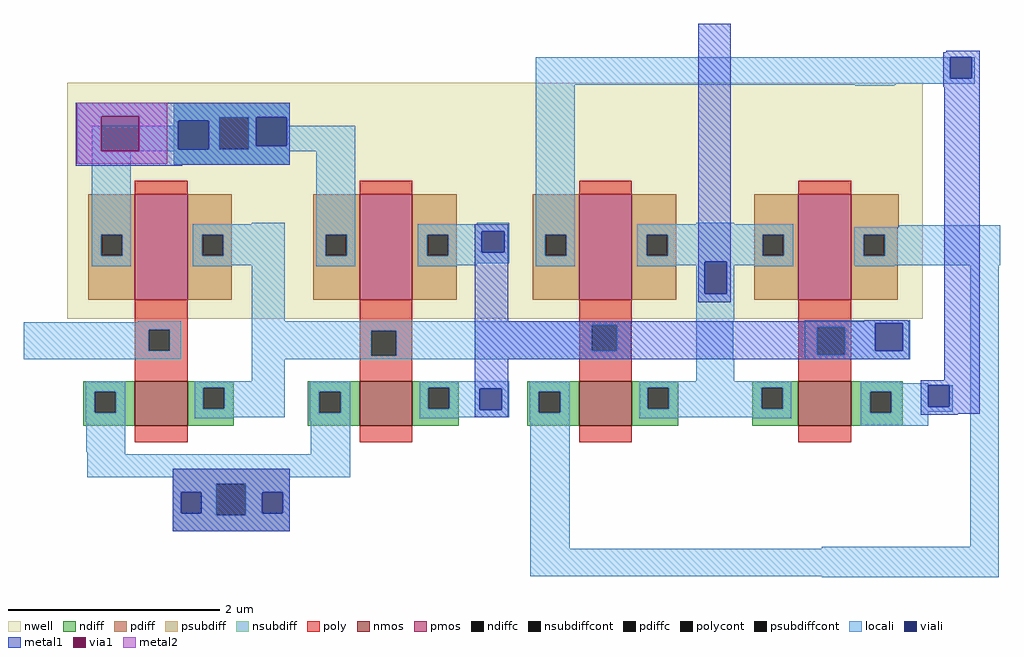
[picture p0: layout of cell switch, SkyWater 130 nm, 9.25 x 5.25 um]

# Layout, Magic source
magic
tech sky130A
<< nwell >>
rect 41 201 852 425
<< nmos >>
rect 105 100 155 142
rect 318 100 368 142
rect 526 100 576 142
rect 734 100 784 142
<< pmos >>
rect 105 219 155 319
rect 318 219 368 319
rect 526 219 576 319
rect 734 219 784 319
<< ndiff >>
rect 56 132 105 142
rect 56 112 67 132
rect 87 112 105 132
rect 56 100 105 112
rect 155 136 199 142
rect 155 116 170 136
rect 190 116 199 136
rect 155 100 199 116
rect 269 132 318 142
rect 269 112 280 132
rect 300 112 318 132
rect 269 100 318 112
rect 368 136 412 142
rect 368 116 383 136
rect 403 116 412 136
rect 368 100 412 116
rect 477 132 526 142
rect 477 112 488 132
rect 508 112 526 132
rect 477 100 526 112
rect 576 136 620 142
rect 576 116 591 136
rect 611 116 620 136
rect 576 100 620 116
rect 690 136 734 142
rect 690 116 699 136
rect 719 116 734 136
rect 690 100 734 116
rect 784 132 833 142
rect 784 112 802 132
rect 822 112 833 132
rect 784 100 833 112
<< pdiff >>
rect 61 281 105 319
rect 61 261 73 281
rect 93 261 105 281
rect 61 219 105 261
rect 155 281 197 319
rect 155 261 169 281
rect 189 261 197 281
rect 155 219 197 261
rect 274 281 318 319
rect 274 261 286 281
rect 306 261 318 281
rect 274 219 318 261
rect 368 281 410 319
rect 368 261 382 281
rect 402 261 410 281
rect 368 219 410 261
rect 482 281 526 319
rect 482 261 494 281
rect 514 261 526 281
rect 482 219 526 261
rect 576 281 618 319
rect 576 261 590 281
rect 610 261 618 281
rect 576 219 618 261
rect 692 281 734 319
rect 692 261 700 281
rect 720 261 734 281
rect 692 219 734 261
rect 784 288 829 319
rect 784 281 828 288
rect 784 261 796 281
rect 816 261 828 281
rect 784 219 828 261
<< ndiffc >>
rect 67 112 87 132
rect 170 116 190 136
rect 280 112 300 132
rect 383 116 403 136
rect 488 112 508 132
rect 591 116 611 136
rect 699 116 719 136
rect 802 112 822 132
<< pdiffc >>
rect 73 261 93 281
rect 169 261 189 281
rect 286 261 306 281
rect 382 261 402 281
rect 494 261 514 281
rect 590 261 610 281
rect 700 261 720 281
rect 796 261 816 281
<< psubdiff >>
rect 141 45 252 59
rect 141 15 182 45
rect 210 15 252 45
rect 141 0 252 15
<< nsubdiff >>
rect 142 392 252 406
rect 142 362 185 392
rect 213 362 252 392
rect 142 347 252 362
<< psubdiffcont >>
rect 182 15 210 45
<< nsubdiffcont >>
rect 185 362 213 392
<< poly >>
rect 105 319 155 332
rect 318 319 368 332
rect 526 319 576 332
rect 734 319 784 332
rect 105 191 155 219
rect 105 171 118 191
rect 138 171 155 191
rect 105 142 155 171
rect 318 190 368 219
rect 318 166 329 190
rect 353 166 368 190
rect 318 142 368 166
rect 526 195 576 219
rect 526 171 538 195
rect 562 171 576 195
rect 526 142 576 171
rect 734 193 784 219
rect 734 167 752 193
rect 778 167 784 193
rect 734 142 784 167
rect 105 84 155 100
rect 318 84 368 100
rect 526 84 576 100
rect 734 84 784 100
<< polycont >>
rect 118 171 138 191
rect 329 166 353 190
rect 538 171 562 195
rect 752 167 778 193
<< locali >>
rect 485 429 878 449
rect 898 429 901 449
rect 485 424 901 429
rect 485 423 826 424
rect 142 392 252 406
rect 142 389 185 392
rect 142 384 146 389
rect 64 362 146 384
rect 175 362 185 389
rect 213 365 220 392
rect 249 384 252 392
rect 249 365 314 384
rect 213 362 314 365
rect 64 360 314 362
rect 64 281 101 360
rect 142 347 252 360
rect 216 291 247 292
rect 64 261 73 281
rect 93 261 101 281
rect 64 251 101 261
rect 160 281 247 291
rect 160 261 169 281
rect 189 261 247 281
rect 160 252 247 261
rect 160 251 197 252
rect 216 199 247 252
rect 277 281 314 360
rect 429 291 460 292
rect 277 261 286 281
rect 306 261 314 281
rect 277 251 314 261
rect 373 284 460 291
rect 373 281 434 284
rect 373 261 382 281
rect 402 264 434 281
rect 455 264 460 284
rect 402 261 460 264
rect 373 254 460 261
rect 485 281 522 423
rect 788 422 825 423
rect 637 291 673 292
rect 485 261 494 281
rect 514 261 522 281
rect 373 252 429 254
rect 373 251 410 252
rect 485 251 522 261
rect 581 281 729 291
rect 829 288 925 290
rect 581 261 590 281
rect 610 261 700 281
rect 720 261 729 281
rect 581 255 729 261
rect 581 252 645 255
rect 581 251 618 252
rect 637 225 645 252
rect 666 252 729 255
rect 787 281 925 288
rect 787 261 796 281
rect 816 261 925 281
rect 787 252 925 261
rect 666 225 673 252
rect 692 251 729 252
rect 788 251 825 252
rect 637 200 673 225
rect 108 198 149 199
rect 0 191 149 198
rect 0 171 118 191
rect 138 171 149 191
rect 0 163 149 171
rect 216 195 575 199
rect 216 190 538 195
rect 216 166 329 190
rect 353 171 538 190
rect 562 171 575 195
rect 353 166 575 171
rect 216 163 575 166
rect 637 163 672 200
rect 740 197 840 200
rect 740 193 807 197
rect 740 167 752 193
rect 778 171 807 193
rect 833 171 840 197
rect 778 167 840 171
rect 740 163 840 167
rect 216 142 247 163
rect 637 142 673 163
rect 59 141 96 142
rect 58 132 96 141
rect 58 112 67 132
rect 87 112 96 132
rect 58 104 96 112
rect 162 136 247 142
rect 272 141 309 142
rect 162 116 170 136
rect 190 116 247 136
rect 162 108 247 116
rect 271 132 309 141
rect 271 112 280 132
rect 300 112 309 132
rect 162 107 198 108
rect 271 104 309 112
rect 375 136 460 142
rect 480 141 517 142
rect 375 116 383 136
rect 403 135 460 136
rect 403 116 432 135
rect 375 115 432 116
rect 453 115 460 135
rect 375 108 460 115
rect 479 132 517 141
rect 479 112 488 132
rect 508 112 517 132
rect 375 107 411 108
rect 479 104 517 112
rect 583 136 727 142
rect 583 116 591 136
rect 611 116 699 136
rect 719 116 727 136
rect 583 108 727 116
rect 583 107 619 108
rect 691 107 727 108
rect 793 141 830 142
rect 793 140 831 141
rect 793 132 857 140
rect 793 112 802 132
rect 822 118 857 132
rect 877 118 880 138
rect 822 113 880 118
rect 822 112 857 113
rect 59 75 96 104
rect 60 73 96 75
rect 272 73 309 104
rect 60 51 309 73
rect 141 45 252 51
rect 141 37 182 45
rect 141 17 149 37
rect 168 17 182 37
rect 141 15 182 17
rect 210 37 252 45
rect 210 17 226 37
rect 245 17 252 37
rect 210 15 252 17
rect 141 0 252 15
rect 480 -17 517 104
rect 793 100 857 112
rect 897 -15 924 252
rect 756 -17 924 -15
rect 480 -43 924 -17
rect 756 -44 924 -43
<< viali >>
rect 878 429 898 449
rect 146 362 175 389
rect 220 365 249 392
rect 434 264 455 284
rect 645 225 666 255
rect 807 171 833 197
rect 432 115 453 135
rect 857 118 877 138
rect 149 17 168 37
rect 226 17 245 37
<< metal1 >>
rect 49 393 252 406
rect 49 360 73 393
rect 109 392 252 393
rect 109 389 220 392
rect 109 362 146 389
rect 175 365 220 389
rect 249 365 252 392
rect 175 362 252 365
rect 109 360 252 362
rect 49 347 252 360
rect 49 346 150 347
rect 427 284 459 291
rect 427 264 434 284
rect 455 264 459 284
rect 427 199 459 264
rect 639 255 670 481
rect 874 454 906 455
rect 871 449 906 454
rect 871 429 878 449
rect 898 429 906 449
rect 871 421 906 429
rect 639 225 645 255
rect 666 225 670 255
rect 639 217 670 225
rect 797 199 837 200
rect 427 197 839 199
rect 427 171 807 197
rect 833 171 839 197
rect 427 163 839 171
rect 427 135 459 163
rect 872 143 906 421
rect 427 115 432 135
rect 453 115 459 135
rect 427 108 459 115
rect 850 138 906 143
rect 850 118 857 138
rect 877 118 906 138
rect 850 111 906 118
rect 850 110 885 111
rect 141 37 252 59
rect 141 17 149 37
rect 168 17 226 37
rect 245 17 252 37
rect 141 0 252 17
<< via1 >>
rect 73 360 109 393
<< metal2 >>
rect 50 393 136 406
rect 50 360 73 393
rect 109 360 136 393
rect 50 348 136 360
<< end >>
